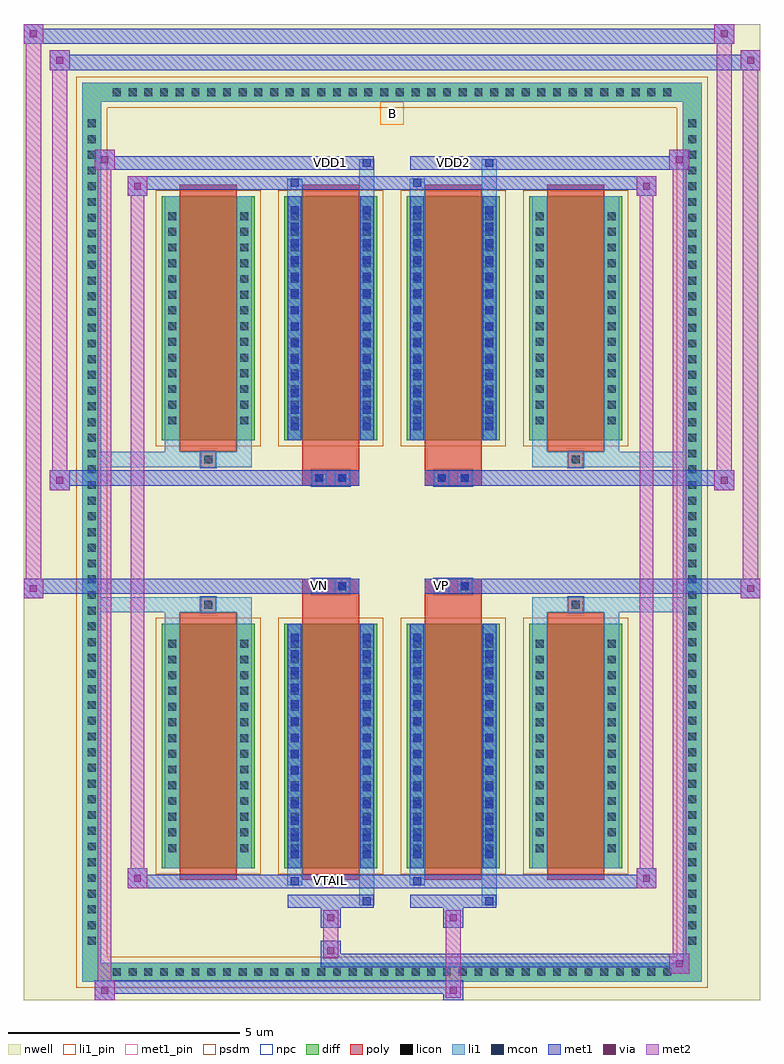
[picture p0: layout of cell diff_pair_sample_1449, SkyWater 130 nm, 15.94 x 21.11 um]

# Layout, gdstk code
import gdstk
lib = gdstk.Library(unit=1e-6, precision=5e-09)
def R(c, l, rs):  # rectangles x0, y0, x1, y1
    for r in rs: c.add(gdstk.rectangle(r[:2], r[2:], *l))
def A(c, l, x, y, w, h, nx, ny, dx, dy):  # array of equal rectangles
    R(c, l, [(x+i*dx, y+j*dy, x+i*dx+w, y+j*dy+h) for i in range(nx) for j in range(ny)])
def P(c, l, *ps):  # polygons
    for p in ps: c.add(gdstk.Polygon(p, *l))
nwell = (64, 20)
diff = (65, 20)
poly = (66, 20)
licon = (66, 44)
li1_pin = (67, 16)
li1 = (67, 20)
mcon = (67, 44)
met1_pin = (68, 16)
met1 = (68, 20)
via = (68, 44)
met2 = (69, 20)
psdm = (94, 20)
npc = (95, 20)

diff_pair_sample_1449 = lib.new_cell('diff_pair_sample_1449')
R(diff_pair_sample_1449, nwell, [(-7.97,-10.12,7.97,10.99), (-5.29,-8.31,-0.01,-0.805), (0.01,-8.31,5.29,-0.805), (-5.29,0.805,-0.01,8.31), (0.01,0.805,5.29,8.31)])
A(diff_pair_sample_1449, diff, -6.155, -9.72, 0.41, 0.41, 36, 2, 0.34, 19.03)
A(diff_pair_sample_1449, diff, -6.7, -9.045, 0.41, 0.41, 1, 53, 0, 0.34)
A(diff_pair_sample_1449, diff, 6.29, -9.045, 0.41, 0.41, 1, 53, 0, 0.34)
A(diff_pair_sample_1449, diff, -4.98, -7.265, 2.01, 5.28, 4, 2, 2.65, 9.25)
R(diff_pair_sample_1449, diff, [(-6.155,-9.72,6.155,-9.31), (-6.7,-9.045,-6.29,9.045), (6.29,-9.045,6.7,9.045), (-6.155,9.31,6.155,9.72)])
P(diff_pair_sample_1449, diff, [(6.7,9.72),(-6.7,9.72),(-6.7,-9.31),(-6.29,-9.31),(-6.29,9.31),(6.29,9.31),(6.29,-9.31),(-6.29,-9.31),(-6.7,-9.31),(-6.7,-9.72),(6.7,-9.72)])
A(diff_pair_sample_1449, poly, -4.59, -7.515, 1.23, 5.78, 4, 2, 2.65, 9.25)
R(diff_pair_sample_1449, poly, [(-4.14,-1.735,-3.81,-1.405), (-4.14,-1.735,-3.81,-1.405), (-1.94,-1.735,-0.71,-1.335), (0.71,-1.735,1.94,-1.335), (3.81,-1.735,4.14,-1.405), (3.81,-1.735,4.14,-1.405), (-1.94,-1.335,-0.71,-1.005), (-1.74,-1.335,-1.41,-1.005), (-1.24,-1.335,-0.91,-1.005), (0.71,-1.335,1.94,-1.005), (0.91,-1.335,1.24,-1.005), (1.41,-1.335,1.74,-1.005), (-1.94,1.005,-0.71,1.335), (-1.74,1.005,-1.41,1.335), (-1.24,1.005,-0.91,1.335), (0.71,1.005,1.94,1.335), (0.91,1.005,1.24,1.335), (1.41,1.005,1.74,1.335), (-1.94,1.335,-0.71,1.735), (0.71,1.335,1.94,1.735), (-4.14,1.405,-3.81,1.735), (-4.14,1.405,-3.81,1.735), (3.81,1.405,4.14,1.735), (3.81,1.405,4.14,1.735)])
A(diff_pair_sample_1449, licon, -6.035, -9.6, 0.17, 0.17, 36, 2, 0.34, 19.03)
A(diff_pair_sample_1449, licon, -6.58, -8.925, 0.17, 0.17, 1, 53, 0, 0.34)
A(diff_pair_sample_1449, licon, 6.41, -8.925, 0.17, 0.17, 1, 53, 0, 0.34)
A(diff_pair_sample_1449, licon, -4.84, -6.92, 0.17, 0.17, 1, 14, 0, 0.34)
A(diff_pair_sample_1449, licon, -3.28, -6.92, 0.17, 0.17, 1, 14, 0, 0.34)
A(diff_pair_sample_1449, licon, -2.19, -6.92, 0.17, 0.17, 1, 14, 0, 0.34)
A(diff_pair_sample_1449, licon, -0.63, -6.92, 0.17, 0.17, 1, 14, 0, 0.34)
A(diff_pair_sample_1449, licon, 0.46, -6.92, 0.17, 0.17, 1, 14, 0, 0.34)
A(diff_pair_sample_1449, licon, 2.02, -6.92, 0.17, 0.17, 1, 14, 0, 0.34)
A(diff_pair_sample_1449, licon, 3.11, -6.92, 0.17, 0.17, 1, 14, 0, 0.34)
A(diff_pair_sample_1449, licon, 4.67, -6.92, 0.17, 0.17, 1, 14, 0, 0.34)
A(diff_pair_sample_1449, licon, -4.84, 2.33, 0.17, 0.17, 1, 14, 0, 0.34)
A(diff_pair_sample_1449, licon, -3.28, 2.33, 0.17, 0.17, 1, 14, 0, 0.34)
A(diff_pair_sample_1449, licon, -2.19, 2.33, 0.17, 0.17, 1, 14, 0, 0.34)
A(diff_pair_sample_1449, licon, -0.63, 2.33, 0.17, 0.17, 1, 14, 0, 0.34)
A(diff_pair_sample_1449, licon, 0.46, 2.33, 0.17, 0.17, 1, 14, 0, 0.34)
A(diff_pair_sample_1449, licon, 2.02, 2.33, 0.17, 0.17, 1, 14, 0, 0.34)
A(diff_pair_sample_1449, licon, 3.11, 2.33, 0.17, 0.17, 1, 14, 0, 0.34)
A(diff_pair_sample_1449, licon, 4.67, 2.33, 0.17, 0.17, 1, 14, 0, 0.34)
R(diff_pair_sample_1449, licon, [(-4.06,-1.655,-3.89,-1.485), (3.89,-1.655,4.06,-1.485), (-1.66,-1.255,-1.49,-1.085), (-1.16,-1.255,-0.99,-1.085), (0.99,-1.255,1.16,-1.085), (1.49,-1.255,1.66,-1.085), (-1.66,1.085,-1.49,1.255), (-1.16,1.085,-0.99,1.255), (0.99,1.085,1.16,1.255), (1.49,1.085,1.66,1.255), (-4.06,1.485,-3.89,1.655), (3.89,1.485,4.06,1.655)])
R(diff_pair_sample_1449, li1_pin, [(-0.25,8.81,0.25,9.31)])
A(diff_pair_sample_1449, li1, -6.115, -9.68, 0.33, 0.33, 36, 2, 0.34, 19.03)
A(diff_pair_sample_1449, li1, -6.66, -9.005, 0.33, 0.33, 1, 53, 0, 0.34)
A(diff_pair_sample_1449, li1, 6.33, -9.005, 0.33, 0.33, 1, 53, 0, 0.34)
A(diff_pair_sample_1449, li1, -2.19, -7.05, 0.17, 0.17, 1, 14, 0, 0.36)
A(diff_pair_sample_1449, li1, -0.63, -7.05, 0.17, 0.17, 1, 14, 0, 0.36)
A(diff_pair_sample_1449, li1, 0.46, -7.05, 0.17, 0.17, 1, 14, 0, 0.36)
A(diff_pair_sample_1449, li1, 2.02, -7.05, 0.17, 0.17, 1, 14, 0, 0.36)
A(diff_pair_sample_1449, li1, -4.92, -7, 0.33, 0.33, 1, 14, 0, 0.34)
A(diff_pair_sample_1449, li1, -3.36, -7, 0.33, 0.33, 1, 14, 0, 0.34)
A(diff_pair_sample_1449, li1, -2.27, -7, 0.33, 0.33, 1, 14, 0, 0.34)
A(diff_pair_sample_1449, li1, -0.71, -7, 0.33, 0.33, 1, 14, 0, 0.34)
A(diff_pair_sample_1449, li1, 0.38, -7, 0.33, 0.33, 1, 14, 0, 0.34)
A(diff_pair_sample_1449, li1, 1.94, -7, 0.33, 0.33, 1, 14, 0, 0.34)
A(diff_pair_sample_1449, li1, 3.03, -7, 0.33, 0.33, 1, 14, 0, 0.34)
A(diff_pair_sample_1449, li1, 4.59, -7, 0.33, 0.33, 1, 14, 0, 0.34)
A(diff_pair_sample_1449, li1, -2.19, 2.2, 0.17, 0.17, 1, 14, 0, 0.36)
A(diff_pair_sample_1449, li1, -0.63, 2.2, 0.17, 0.17, 1, 14, 0, 0.36)
A(diff_pair_sample_1449, li1, 0.46, 2.2, 0.17, 0.17, 1, 14, 0, 0.36)
A(diff_pair_sample_1449, li1, 2.02, 2.2, 0.17, 0.17, 1, 14, 0, 0.36)
A(diff_pair_sample_1449, li1, -4.92, 2.25, 0.33, 0.33, 1, 14, 0, 0.34)
A(diff_pair_sample_1449, li1, -3.36, 2.25, 0.33, 0.33, 1, 14, 0, 0.34)
A(diff_pair_sample_1449, li1, -2.27, 2.25, 0.33, 0.33, 1, 14, 0, 0.34)
A(diff_pair_sample_1449, li1, -0.71, 2.25, 0.33, 0.33, 1, 14, 0, 0.34)
A(diff_pair_sample_1449, li1, 0.38, 2.25, 0.33, 0.33, 1, 14, 0, 0.34)
A(diff_pair_sample_1449, li1, 1.94, 2.25, 0.33, 0.33, 1, 14, 0, 0.34)
A(diff_pair_sample_1449, li1, 3.03, 2.25, 0.33, 0.33, 1, 14, 0, 0.34)
A(diff_pair_sample_1449, li1, 4.59, 2.25, 0.33, 0.33, 1, 14, 0, 0.34)
R(diff_pair_sample_1449, li1, [(-6.7,-9.72,-6.29,-9.31), (-6.7,-9.72,-6.29,-9.31), (-6.29,-9.72,6.29,-9.31), (6.29,-9.72,6.7,-9.31), (6.29,-9.72,6.7,-9.31), (-6.7,-9.31,-6.29,9.31), (6.29,-9.31,6.7,9.31), (-0.71,-8.07,-0.38,-7.265), (-0.63,-8.07,-0.46,-7.9), (1.94,-8.07,2.27,-7.265), (2.02,-8.07,2.19,-7.9), (-2.27,-7.64,-1.94,-7.265), (-2.19,-7.64,-2.02,-7.47), (0.38,-7.64,0.71,-7.265), (0.46,-7.64,0.63,-7.47), (-4.92,-7.265,-4.59,-1.985), (-3.36,-7.265,-3.03,-1.985), (-2.27,-7.265,-1.94,-1.985), (-0.71,-7.265,-0.38,-1.985), (0.38,-7.265,0.71,-1.985), (1.94,-7.265,2.27,-1.985), (3.03,-7.265,3.36,-1.985), (4.59,-7.265,4.92,-1.985), (-2.19,-7.05,-2.02,-2.2), (-0.63,-7.05,-0.46,-2.2), (0.46,-7.05,0.63,-2.2), (2.02,-7.05,2.19,-2.2), (-4.92,-1.985,-4.59,-1.405), (-3.36,-1.985,-3.03,-1.405), (3.03,-1.985,3.36,-1.405), (4.59,-1.985,4.92,-1.405), (-6.7,-1.735,-4.14,-1.405), (-4.92,-1.735,-4.14,-1.405), (-4.14,-1.735,-3.81,-1.405), (-3.81,-1.735,-3.03,-1.405), (3.03,-1.735,3.81,-1.405), (3.81,-1.735,4.14,-1.405), (3.81,-1.735,6.7,-1.405), (4.14,-1.735,4.92,-1.405), (-1.74,-1.335,-1.41,-1.005), (-1.24,-1.335,-0.91,-1.005), (0.91,-1.335,1.24,-1.005), (1.41,-1.335,1.74,-1.005), (-1.74,1.005,-1.41,1.335), (-1.24,1.005,-0.91,1.335), (0.91,1.005,1.24,1.335), (1.41,1.005,1.74,1.335), (-6.7,1.405,-4.14,1.735), (-4.92,1.405,-4.14,1.735), (-4.92,1.405,-4.59,1.985), (-4.14,1.405,-3.81,1.735), (-3.81,1.405,-3.03,1.735), (-3.36,1.405,-3.03,1.985), (3.03,1.405,3.81,1.735), (3.03,1.405,3.36,1.985), (3.81,1.405,4.14,1.735), (3.81,1.405,6.7,1.735), (4.14,1.405,4.92,1.735), (4.59,1.405,4.92,1.985), (-4.92,1.985,-4.59,7.265), (-3.36,1.985,-3.03,7.265), (-2.27,1.985,-1.94,7.265), (-0.71,1.985,-0.38,7.265), (0.38,1.985,0.71,7.265), (1.94,1.985,2.27,7.265), (3.03,1.985,3.36,7.265), (4.59,1.985,4.92,7.265), (-2.19,2.2,-2.02,7.05), (-0.63,2.2,-0.46,7.05), (0.46,2.2,0.63,7.05), (2.02,2.2,2.19,7.05), (-2.27,7.265,-1.94,7.64), (-0.71,7.265,-0.38,8.07), (0.38,7.265,0.71,7.64), (1.94,7.265,2.27,8.07), (-2.19,7.47,-2.02,7.64), (0.46,7.47,0.63,7.64), (-0.63,7.9,-0.46,8.07), (2.02,7.9,2.19,8.07), (-6.7,9.31,-6.29,9.72), (-6.7,9.31,-6.29,9.72), (-6.29,9.31,6.29,9.72), (6.29,9.31,6.7,9.72), (6.29,9.31,6.7,9.72)])
A(diff_pair_sample_1449, mcon, -2.19, -7.05, 0.17, 0.17, 1, 14, 0, 0.36)
A(diff_pair_sample_1449, mcon, -0.63, -7.05, 0.17, 0.17, 1, 14, 0, 0.36)
A(diff_pair_sample_1449, mcon, 0.46, -7.05, 0.17, 0.17, 1, 14, 0, 0.36)
A(diff_pair_sample_1449, mcon, 2.02, -7.05, 0.17, 0.17, 1, 14, 0, 0.36)
A(diff_pair_sample_1449, mcon, -2.19, 2.2, 0.17, 0.17, 1, 14, 0, 0.36)
A(diff_pair_sample_1449, mcon, -0.63, 2.2, 0.17, 0.17, 1, 14, 0, 0.36)
A(diff_pair_sample_1449, mcon, 0.46, 2.2, 0.17, 0.17, 1, 14, 0, 0.36)
A(diff_pair_sample_1449, mcon, 2.02, 2.2, 0.17, 0.17, 1, 14, 0, 0.36)
R(diff_pair_sample_1449, mcon, [(-0.63,-8.07,-0.46,-7.9), (2.02,-8.07,2.19,-7.9), (-2.19,-7.64,-2.02,-7.47), (0.46,-7.64,0.63,-7.47), (-1.66,-1.255,-1.49,-1.085), (-1.16,-1.255,-0.99,-1.085), (0.99,-1.255,1.16,-1.085), (1.49,-1.255,1.66,-1.085), (-1.66,1.085,-1.49,1.255), (-1.16,1.085,-0.99,1.255), (0.99,1.085,1.16,1.255), (1.49,1.085,1.66,1.255), (-2.19,7.47,-2.02,7.64), (0.46,7.47,0.63,7.64), (-0.63,7.9,-0.46,8.07), (2.02,7.9,2.19,8.07)])
R(diff_pair_sample_1449, met1_pin, [(-1.46,-7.68,-1.19,-7.41), (-1.71,-1.295,-1.44,-1.025), (0.94,-1.295,1.21,-1.025), (-1.46,7.86,-1.19,8.13), (1.19,7.86,1.46,8.13)])
A(diff_pair_sample_1449, met1, -2.25, -7.11, 0.29, 0.29, 1, 14, 0, 0.36)
A(diff_pair_sample_1449, met1, -0.69, -7.11, 0.29, 0.29, 1, 14, 0, 0.36)
A(diff_pair_sample_1449, met1, 0.4, -7.11, 0.29, 0.29, 1, 14, 0, 0.36)
A(diff_pair_sample_1449, met1, 1.96, -7.11, 0.29, 0.29, 1, 14, 0, 0.36)
A(diff_pair_sample_1449, met1, -2.25, 2.14, 0.29, 0.29, 1, 14, 0, 0.36)
A(diff_pair_sample_1449, met1, -0.69, 2.14, 0.29, 0.29, 1, 14, 0, 0.36)
A(diff_pair_sample_1449, met1, 0.4, 2.14, 0.29, 0.29, 1, 14, 0, 0.36)
A(diff_pair_sample_1449, met1, 1.96, 2.14, 0.29, 0.29, 1, 14, 0, 0.36)
R(diff_pair_sample_1449, met1, [(-6.43,-10.12,-6,-9.69), (1.11,-10.12,1.54,-9.69), (-6.43,-9.98,1.54,-9.69), (6,-9.55,6.43,-9.12), (-1.54,-9.41,6.43,-9.12), (-1.54,-9.27,-1.11,-8.84), (-1.54,-8.56,-1.11,-8.13), (1.11,-8.56,1.54,-8.13), (-2.25,-8.13,-0.4,-7.84), (-0.69,-8.13,-0.4,-7.84), (0.4,-8.13,2.25,-7.84), (1.96,-8.13,2.25,-7.84), (-5.72,-7.7,-5.29,-7.27), (-5.72,-7.7,-2.25,-7.41), (-2.25,-7.7,-1.96,-7.41), (-2.25,-7.7,-0.4,-7.41), (-0.4,-7.7,0.4,-7.41), (0.4,-7.7,0.69,-7.41), (0.4,-7.7,2.25,-7.41), (2.25,-7.7,5.72,-7.41), (5.29,-7.7,5.72,-7.27), (-2.25,-7.265,-1.96,-1.985), (-0.69,-7.265,-0.4,-1.985), (0.4,-7.265,0.69,-1.985), (1.96,-7.265,2.25,-1.985), (-7.97,-1.435,-7.54,-1.005), (7.54,-1.435,7.97,-1.005), (-7.97,-1.335,-0.71,-1.005), (-1.94,-1.335,-0.71,-1.005), (0.71,-1.335,1.94,-1.005), (0.71,-1.335,7.97,-1.005), (-1.72,-1.315,-1.43,-1.025), (-1.22,-1.315,-0.93,-1.025), (0.93,-1.315,1.22,-1.025), (1.43,-1.315,1.72,-1.025), (-7.4,0.905,-6.97,1.335), (6.97,0.905,7.4,1.335), (-7.4,1.005,-1.94,1.335), (-1.94,1.005,-0.71,1.335), (0.71,1.005,1.94,1.335), (1.94,1.005,7.4,1.335), (-1.72,1.025,-1.43,1.315), (-1.22,1.025,-0.93,1.315), (0.93,1.025,1.22,1.315), (1.43,1.025,1.72,1.315), (-2.25,1.985,-1.96,7.265), (-0.69,1.985,-0.4,7.265), (0.4,1.985,0.69,7.265), (1.96,1.985,2.25,7.265), (-5.72,7.27,-5.29,7.7), (5.29,7.27,5.72,7.7), (-5.72,7.41,-2.25,7.7), (-2.25,7.41,-1.96,7.7), (-2.25,7.41,-0.4,7.7), (-0.4,7.41,0.4,7.7), (0.4,7.41,0.69,7.7), (0.4,7.41,2.25,7.7), (2.25,7.41,5.72,7.7), (-6.43,7.84,-6,8.27), (-6.43,7.84,-2.25,8.13), (-2.25,7.84,-0.4,8.13), (-0.69,7.84,-0.4,8.13), (0.4,7.84,2.25,8.13), (1.96,7.84,2.25,8.13), (2.25,7.84,6.43,8.13), (6,7.84,6.43,8.27), (-7.4,9.99,-6.97,10.42), (-7.4,9.99,-5.29,10.32), (-5.29,9.99,5.29,10.32), (5.29,9.99,7.97,10.32), (7.54,9.99,7.97,10.42), (-7.97,10.56,-7.54,10.99), (-7.97,10.56,-5.29,10.89), (-5.29,10.56,5.29,10.89), (5.29,10.56,7.4,10.89), (6.97,10.56,7.4,10.99)])
R(diff_pair_sample_1449, via, [(-6.29,-9.98,-6.14,-9.83), (1.25,-9.98,1.4,-9.83), (6.14,-9.41,6.29,-9.26), (-1.4,-9.13,-1.25,-8.98), (-1.4,-8.42,-1.25,-8.27), (1.25,-8.42,1.4,-8.27), (-5.58,-7.56,-5.43,-7.41), (5.43,-7.56,5.58,-7.41), (-7.83,-1.295,-7.68,-1.145), (7.68,-1.295,7.83,-1.145), (-7.26,1.045,-7.11,1.195), (7.11,1.045,7.26,1.195), (-5.58,7.41,-5.43,7.56), (5.43,7.41,5.58,7.56), (-6.29,7.98,-6.14,8.13), (6.14,7.98,6.29,8.13), (-7.26,10.13,-7.11,10.28), (7.68,10.13,7.83,10.28), (-7.83,10.7,-7.68,10.85), (7.11,10.7,7.26,10.85)])
R(diff_pair_sample_1449, met2, [(-6.43,-10.12,-6,-9.69), (-6.36,-10.12,-6.07,8.27), (-6.07,-10.12,-6,-9.69), (-6.38,-10.07,-6.05,-9.74), (1.16,-10.07,1.49,-9.74), (1.16,-9.74,1.49,-8.51), (6,-9.55,6.43,-9.12), (6.07,-9.55,6.36,8.27), (6.36,-9.55,6.43,-9.12), (6.05,-9.5,6.38,-9.17), (-1.49,-9.22,-1.16,-8.89), (-1.49,-8.89,-1.16,-8.51), (-1.49,-8.51,-1.16,-8.18), (1.16,-8.51,1.49,-8.18), (-5.72,-7.7,-5.29,-7.27), (-5.65,-7.7,-5.36,7.7), (-5.36,-7.7,-5.29,-7.27), (5.29,-7.7,5.72,-7.27), (5.36,-7.7,5.65,7.7), (5.65,-7.7,5.72,-7.27), (-5.67,-7.65,-5.34,-7.32), (5.34,-7.65,5.67,-7.32), (-7.97,-1.435,-7.54,-1.005), (-7.92,-1.435,-7.59,10.99), (-7.59,-1.435,-7.54,-1.005), (7.54,-1.435,7.97,-1.005), (7.59,-1.435,7.92,10.42), (7.92,-1.435,7.97,-1.005), (-7.92,-1.385,-7.59,-1.055), (7.59,-1.385,7.92,-1.055), (-7.4,0.905,-6.97,1.335), (-7.35,0.905,-7.02,10.42), (-7.02,0.905,-6.97,1.335), (6.97,0.905,7.4,1.335), (7.02,0.905,7.35,10.99), (7.35,0.905,7.4,1.335), (-7.35,0.955,-7.02,1.285), (7.02,0.955,7.35,1.285), (-5.72,7.27,-5.29,7.7), (-5.36,7.27,-5.29,7.7), (5.29,7.27,5.72,7.7), (5.65,7.27,5.72,7.7), (-5.67,7.32,-5.34,7.65), (5.34,7.32,5.67,7.65), (-6.43,7.84,-6,8.27), (-6.07,7.84,-6,8.27), (6,7.84,6.43,8.27), (6.36,7.84,6.43,8.27), (-6.38,7.89,-6.05,8.22), (6.05,7.89,6.38,8.22), (-7.4,9.99,-6.97,10.42), (-7.02,9.99,-6.97,10.42), (7.54,9.99,7.97,10.42), (7.92,9.99,7.97,10.42), (-7.35,10.04,-7.02,10.37), (7.59,10.04,7.92,10.37), (-7.97,10.56,-7.54,10.99), (-7.59,10.56,-7.54,10.99), (6.97,10.56,7.4,10.99), (7.35,10.56,7.4,10.99), (-7.92,10.61,-7.59,10.94), (7.02,10.61,7.35,10.94)])
A(diff_pair_sample_1449, psdm, -5.11, -7.395, 2.27, 5.54, 4, 2, 2.65, 9.25)
P(diff_pair_sample_1449, psdm, [(6.83,9.85),(-6.83,9.85),(-6.83,-9.18),(-6.16,-9.18),(-6.16,9.18),(6.16,9.18),(6.16,-9.18),(-6.16,-9.18),(-6.83,-9.18),(-6.83,-9.85),(6.83,-9.85)])
R(diff_pair_sample_1449, npc, [(-4.16,-1.755,-3.79,-1.385), (3.79,-1.755,4.16,-1.385), (-1.76,-1.355,-1.39,-0.985), (-1.76,-1.355,-0.89,-0.985), (-1.76,-1.355,-0.89,-0.985), (-1.26,-1.355,-0.89,-0.985), (0.89,-1.355,1.26,-0.985), (0.89,-1.355,1.76,-0.985), (0.89,-1.355,1.76,-0.985), (1.39,-1.355,1.76,-0.985), (-1.76,0.985,-1.39,1.355), (-1.76,0.985,-0.89,1.355), (-1.76,0.985,-0.89,1.355), (-1.26,0.985,-0.89,1.355), (0.89,0.985,1.26,1.355), (0.89,0.985,1.76,1.355), (0.89,0.985,1.76,1.355), (1.39,0.985,1.76,1.355), (-4.16,1.385,-3.79,1.755), (3.79,1.385,4.16,1.755)])
diff_pair_sample_1449.add(gdstk.Label('VTAIL', (-1.325,-7.545), layer=68, texttype=5))
diff_pair_sample_1449.add(gdstk.Label('VN', (-1.575,-1.16), layer=68, texttype=5))
diff_pair_sample_1449.add(gdstk.Label('VP', (1.075,-1.16), layer=68, texttype=5))
diff_pair_sample_1449.add(gdstk.Label('B', (0,9.06), layer=67, texttype=5))
diff_pair_sample_1449.add(gdstk.Label('VDD2', (1.325,7.995), layer=68, texttype=5))
diff_pair_sample_1449.add(gdstk.Label('VDD1', (-1.325,7.995), layer=68, texttype=5))

lib.write_gds('diff_pair_sample_1449.gds')
